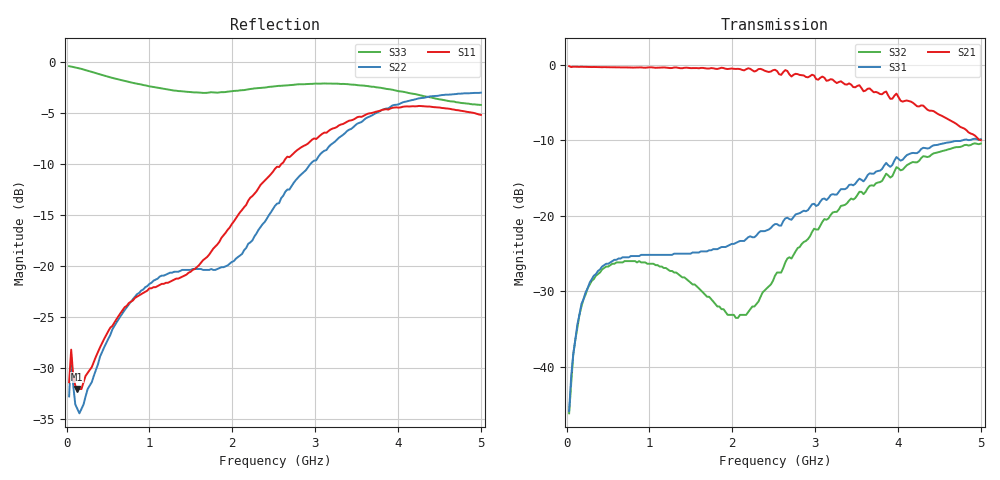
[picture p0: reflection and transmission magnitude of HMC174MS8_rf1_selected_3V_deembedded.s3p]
!Hittite Microwave Corporation
!12 Elizabeth Drive
!Chelmsford, MA 01824
!Tel: 978-250-3343
!Fax: 978-250-3373
!Device: HMC174MS8, DC - 3 GHz T/R Switch in 8-lead MSOP package
!Misc: Port1=RFC, Port2= RF1, Port3=RF2, RF1 ON, Bias: +3VDC
# MHZ S MA R 50
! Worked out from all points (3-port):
!   201 points, 30 MHz to 5 GHz, reference 50 ohm
!   strongest paths, dB at 30 MHz, 1.272 GHz, 2.515 GHz, 3.757 GHz, 5 GHz:
!     S21: -0.2, -0.4, -0.6, -3.7, -10.0
!     S31: -45.9, -25.2, -21.1, -14.1, -9.8
!     S32: -46.2, -27.3, -28.0, -15.6, -10.4
!   lowest |S11| = -32.0 dB at 129.4 MHz (marker M1), VSWR 1.05, Z = 48 - j1.42 ohm
!   |S11| at or under -10 dB: start of sweep to 2.588 GHz
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30  0.027 -139.6  0.981 -0.7  0.005225 67.7
    0.981 -0.6  0.023 -124.0  0.004899 64.0
    0.005047 66.9  0.004893 64.6  0.959 -10.4
129.4  0.025 -143.9  0.97 -4.1  0.019 69.8
       0.971 -4.1  0.02 -130.4  0.018 67.6
       0.019 70.3  0.018 68.0  0.939 -40.9
477.3  0.046 -133.6  0.966 -14.6  0.048 38.5
       0.966 -14.7  0.042 -108.4  0.046 30.8
       0.048 38.3  0.046 30.7  0.856 -122.5
850.05  0.071 -148.7  0.962 -25.4  0.057 25.0
        0.963 -25.5  0.073 -111.6  0.052 10.3
        0.054 24.8  0.049 10.0  0.786 -175.7
1595.55  0.101 133.7  0.952 -48.5  0.057 24.4
         0.95 -48.6  0.097 -153.5  0.033 -5.3
         0.057 23.9  0.033 -5.8  0.712 102.0
2117.4  0.189 71.0  0.927 -67.0  0.065 33.3
        0.927 -66.8  0.115 139.5  0.021 36.5
        0.068 30.2  0.022 33.1  0.731 52.7
2515  0.301 38.2  0.916 -80.4  0.088 28.8
      0.929 -81.4  0.198 92.6  0.04 61.4
      0.088 32.8  0.04 66.5  0.764 22.5
3384.75  0.512 -15.7  0.76 -112.2  0.16 25.2
         0.741 -112.8  0.461 34.3  0.126 55.1
         0.153 24.9  0.121 54.4  0.783 -27.5
4055.7  0.606 -60.5  0.577 -136.1  0.244 4.6
        0.571 -135.8  0.637 -11.4  0.211 29.4
        0.235 3.6  0.202 27.8  0.719 -64.4
5000  0.553 -146.7  0.319 -159.3  0.323 -45.0
      0.317 -158.8  0.711 -93.8  0.303 -20.8
      0.322 -43.8  0.301 -19.5  0.619 -127.3
